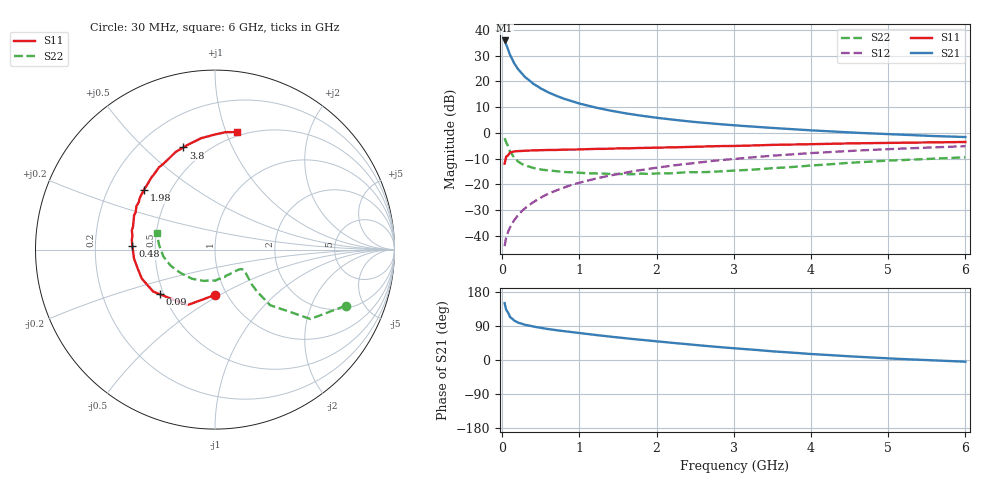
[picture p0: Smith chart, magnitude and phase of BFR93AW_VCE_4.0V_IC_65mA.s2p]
! Infineon Technologies  Discrete & RF Semiconductors
! BFR93AW
! VCE =  4.0 V,  IC =  65 mA
! Common Emitter S-Parameters:  Nov 2015
# GHz  S  MA  R  50
!  f  S11  S21  S12  S22
! GHz  MAG  ANG  MAG  ANG  MAG  ANG  MAG  ANG
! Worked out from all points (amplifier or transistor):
!   206 points, 30 MHz to 6 GHz, reference 50 ohm
!   highest |S21| = 35.9 dB at 30 MHz (marker M1)
!   |S21| within 3 dB of that: start of sweep to 69.03 MHz
!   unconditionally stable (mu >= 1): 286.4 MHz to 2.226 GHz
!   at 200 MHz: K = 0.95, MSG = 28.6 dB, |S12| = -32.2 dB
!   at 1.56 GHz: K = 1.04, MAG = 10.5 dB, |S12| = -15.6 dB
!   at 6 GHz: K = 0.93, MSG = 1.8 dB, |S12| = -5.2 dB
!   S11 on the Smith chart (normalised r, x): 30 MHz: 0.88, -0.48; 90 MHz: 0.48, -0.28; 480 MHz: 0.37, +0.02; 1.98 GHz: 0.36, +0.32; 3.8 GHz: 0.38, +0.67; 6 GHz: 0.47, +1.10
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0.03  0.2534 -90.3  62.67 150.1  0.0063 73.7  0.7923 -23.2
0.05  0.3463 -116.6  52.31 132.4  0.0092 68.6  0.6579 -36.0
0.09  0.3951 -141.0  36.26 118.7  0.0136 68.9  0.4797 -42.7
0.1  0.4166 -145.9  32.77 113.3  0.0147 69.0  0.4367 -45.2
0.15  0.4387 -158.4  23.02 104.4  0.0196 68.8  0.3341 -45.0
0.2  0.4428 -165.1  17.69 99.1  0.0246 72.3  0.282 -43.4
0.24  0.4471 -169.4  14.96 96.3  0.0289 73.4  0.2562 -41.6
0.3  0.4538 -173.7  11.98 92.6  0.0348 74.8  0.2325 -39.3
0.4  0.4578 -179.4  9.052 88.2  0.0448 76.4  0.2088 -36.5
0.48  0.4611 177.4  7.644 85.5  0.0533 76.5  0.197 -36.0
0.6  0.4663 173.5  6.101 81.5  0.0662 76.2  0.1869 -35.8
0.7  0.4672 170.1  5.263 78.6  0.0762 76.1  0.1812 -36.9
0.82  0.4751 166.6  4.514 75.4  0.089 75.7  0.1731 -39.4
1.04  0.4802 160.8  3.594 70.0  0.1119 74.3  0.1668 -44.4
1.4  0.4953 152.6  2.715 61.6  0.149 71.7  0.1593 -56.1
1.98  0.5172 140.1  1.988 49.4  0.209 66.5  0.1629 -76.3
2.02  0.5187 139.3  1.954 48.7  0.2131 66.1  0.1638 -77.8
3.1  0.5626 118.9  1.374 29.5  0.3215 55.1  0.1881 -113.9
3.8  0.5959 107.2  1.172 18.8  0.3875 47.4  0.2199 -139.6
4.1  0.608 102.6  1.102 14.7  0.4138 44.0  0.2377 -149.3
5.1  0.6429 89.4  0.932 3.3  0.4912 33.0  0.2938 -175.1
6  0.6667 79.2  0.833 -4.5  0.552 23.6  0.3363 164.5
